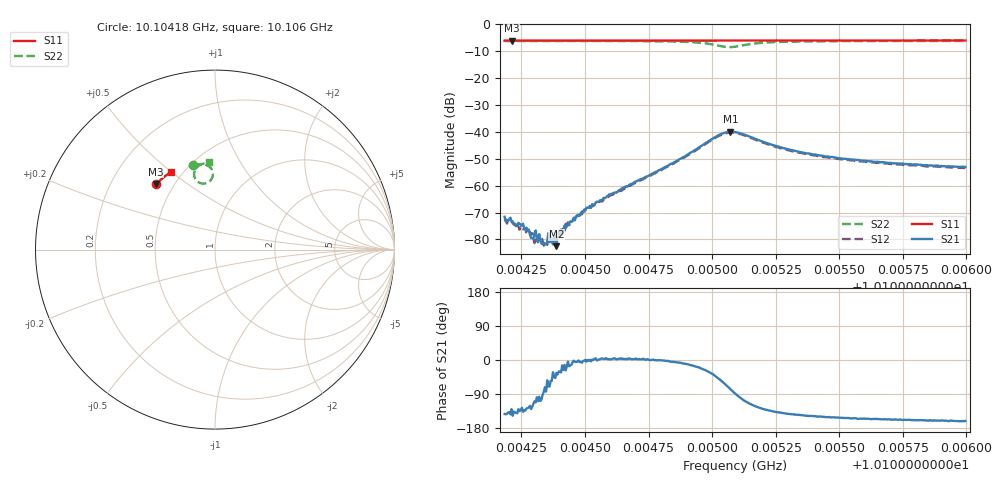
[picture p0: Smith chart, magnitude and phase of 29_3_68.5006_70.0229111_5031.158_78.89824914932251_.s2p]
#  HZ  S  RI  R  50.00
! Rohde & Schwarz Vector Network Analyzer
! Rohde-Schwarz,ZNB20-2Port,1311601062101988,3.16
! Created: UTC 3/20/2024, 4:49:52 PM
! freq[Hz]  re:S11  im:S11  re:S21  im:S21  re:S12  im:S12  re:S22  im:S22
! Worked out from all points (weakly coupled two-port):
!   401 points, 10.10418 GHz to 10.106 GHz, reference 50 ohm
!   highest |S21| = -39.97 dB at 10.10507 GHz (marker M1); lowest = -82.5 dB at 10.10439 GHz (marker M2)
!   lowest |S11| = -6.2 dB at 10.10421 GHz (marker M3), VSWR 2.94, Z = 19.9 + j19.2 ohm
!   |S11| at or under -10 dB: nowhere
!   |S22| runs from -8.6 to -6.2 dB; largest |S21 - S12| = 0.001
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1.0104184e10  -0.3308 0.3642  -0.000208 -0.000161  -0.000152 -0.000157  -0.1218 0.4687
1.0104211e10  -0.3293 0.3654  -0.000139 -0.000167  -0.00014 -0.000163  -0.12 0.4692
1.0104225e10  -0.3288 0.3659  -0.000144 -0.00013  -0.000113 -0.000143  -0.1188 0.4694
1.0104247e10  -0.3278 0.3669  -0.000128 -0.000139  -0.000132 -0.000108  -0.1173 0.4699
1.0104288e10  -0.3261 0.3687  -6.8e-05 -8.22e-05  -7.58e-05 -9.76e-05  -0.114 0.4708
1.0104306e10  -0.3254 0.3694  -5.4e-05 -0.000137  -1.71e-05 -0.000105  -0.1125 0.4711
1.0104333e10  -0.3241 0.3704  -2e-06 -8.16e-05  2.1e-06 -9.58e-05  -0.1106 0.4716
1.0104361e10  -0.3228 0.3716  3.06e-05 -8.35e-05  4.36e-05 -8.17e-05  -0.1082 0.4721
1.0104388e10  -0.3215 0.3728  6.2e-05 -4.21e-05  8.61e-05 -6.22e-05  -0.106 0.4726
1.010441e10  -0.3206 0.3738  0.00013 -3.33e-05  0.000121 -2.58e-05  -0.1043 0.473
1.0104424e10  -0.32 0.3743  0.000144 -7.45e-05  0.000196 -1.84e-06  -0.1029 0.4733
1.0104487e10  -0.3171 0.377  0.000326 -4.12e-05  0.000287 3.32e-05  -0.0973 0.4744
1.0104596e10  -0.3122 0.3814  0.000688 2.71e-05  0.000631 9.49e-05  -0.0867 0.4757
1.0104791e10  -0.3031 0.3892  0.00195 -2.3e-05  0.00183 0.000149  -0.0604 0.4751
1.0104936e10  -0.2962 0.3947  0.00448 -0.00138  0.0044 -0.000918  -0.0254 0.4563
1.0105022e10  -0.2919 0.3979  0.00574 -0.00623  0.00607 -0.00541  -0.0155 0.4001
1.0105072e10  -0.2897 0.3993  0.00219 -0.00979  0.003 -0.00916  -0.0601 0.3677
1.010509e10  -0.2891 0.3999  0.00033 -0.00989  0.00112 -0.00948  -0.0814 0.3705
1.0105262e10  -0.2813 0.4067  -0.00392 -0.00348  -0.00345 -0.00367  -0.1044 0.4541
1.0105393e10  -0.2749 0.4115  -0.00323 -0.00203  -0.00297 -0.00218  -0.0852 0.4704
1.0105697e10  -0.2597 0.4222  -0.00243 -0.00105  -0.00223 -0.00119  -0.0547 0.4818
1.0105996e10  -0.2443 0.432  -0.0021 -0.000727  -0.00192 -0.00085  -0.0313 0.4861
